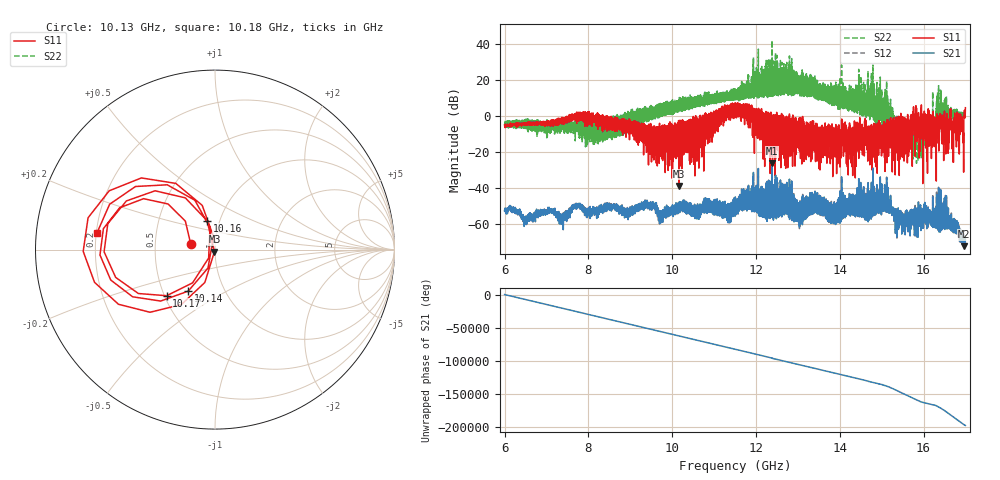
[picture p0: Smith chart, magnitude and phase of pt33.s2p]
#  HZ  S  RI  R  50.00
! Rohde & Schwarz Vector Network Analyzer
! Rohde-Schwarz,ZNA67-2Port,1332450062101215,3.01
! Created: UTC 10/15/2026, 3:50:10 PM
! freq[Hz]  re:S11  im:S11  re:S21  im:S21  re:S12  im:S12  re:S22  im:S22
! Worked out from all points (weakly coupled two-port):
!   11001 points, 6 GHz to 17 GHz, reference 50 ohm
!   highest |S21| = -26.49 dB at 12.38 GHz (marker M1); lowest = -72.4 dB at 16.95 GHz (marker M2)
!   lowest |S11| = -38.9 dB at 10.16 GHz (marker M3), VSWR 1.02, Z = 49.7 - j1.09 ohm
!   |S11| at or under -10 dB: 13.48049 GHz to 13.49691 GHz (16.42 MHz wide, 0.122 % of centre); 13.59811 GHz to 13.62585 GHz (27.74 MHz wide, 0.204 % of centre); 14.157 GHz to 14.17437 GHz (17.36 MHz wide, 0.123 % of centre) (the widest 3 of 497)
!   |S22| runs from -26.4 to 41.8 dB; largest |S21 - S12| = 0.0051
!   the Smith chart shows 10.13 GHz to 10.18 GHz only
!   S11 on the Smith chart (normalised r, x): 10.13 GHz: 0.76, +0.05; 10.14 GHz: 0.67, -0.34; 10.16 GHz: 0.87, +0.29; 10.17 GHz: 0.51, -0.31; 10.18 GHz: 0.20, +0.07
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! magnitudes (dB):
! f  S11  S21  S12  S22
! 6 GHz  -4.9  -52.9  -52.9  -4.7
! 6.494 GHz  -5.2  -56.1  -55.8  -5.9
! 7.834 GHz  -0.3  -51.8  -51.9  -4.2
! 9.667 GHz  -12.2  -51.4  -51.4  5.4
! 10.13 GHz  -17.1  -52.1  -51.8  6.9
! 10.14 GHz  -11.2  -52.5  -52.5  4.9
! 10.16 GHz  -38.9  -50.8  -50.8  8.1
! 10.16 GHz  -15.5  -49.6  -49.6  9.7
! 10.17 GHz  -8.6  -52.0  -51.9  5.0
! 10.18 GHz  -3.6  -50.8  -50.8  3.1
! 11.5 GHz  6.8  -51.9  -51.7  9.8
! 12.38 GHz  -22.4  -26.5  -25.6  41.8
! 12.77 GHz  -9.2  -53.7  -53.8  12.4
! 13.03 GHz  -1.3  -55.3  -55.8  17.1
! 13.33 GHz  -8.2  -51.9  -52.0  12.8
! 13.87 GHz  -16.8  -59.6  -59.5  6.9
! 15.17 GHz  -9.4  -47.5  -48.0  4.3
! 15.51 GHz  -14.9  -56.1  -56.1  -13.1
! 15.94 GHz  0.4  -53.8  -53.7  -7.5
! 16.35 GHz  -14.8  -60.9  -60.2  -5.7
! 16.95 GHz  -10.2  -72.4  -71.1  -0.8
! 17 GHz  4.5  -67.4  -68.2  -0.1
